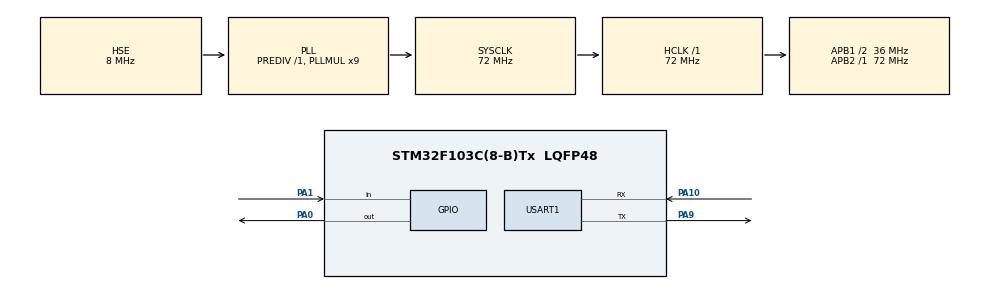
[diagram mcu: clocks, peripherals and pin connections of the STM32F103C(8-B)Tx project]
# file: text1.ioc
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Mcu.Family=STM32F1
Mcu.Name=STM32F103C(8-B)Tx
Mcu.Package=LQFP48
NVIC.PriorityGroup=NVIC_PRIORITYGROUP_4
PA0-WKUP.GPIO_Speed=GPIO_SPEED_FREQ_HIGH
PA0-WKUP.Signal=GPIO_Output
PA1.Signal=GPIO_Input
PA10.Mode=Asynchronous
PA10.Signal=USART1_RX
PA13.Mode=Serial_Wire
PA13.Signal=SYS_JTMS-SWDIO
PA14.Mode=Serial_Wire
PA14.Signal=SYS_JTCK-SWCLK
PA9.Mode=Asynchronous
PA9.Signal=USART1_TX
PC14-OSC32_IN.Mode=LSE-External-Oscillator
PC14-OSC32_IN.Signal=RCC_OSC32_IN
PC15-OSC32_OUT.Mode=LSE-External-Oscillator
PC15-OSC32_OUT.Signal=RCC_OSC32_OUT
PD0-OSC_IN.Mode=HSE-External-Oscillator
PD0-OSC_IN.Signal=RCC_OSC_IN
PD1-OSC_OUT.Mode=HSE-External-Oscillator
PD1-OSC_OUT.Signal=RCC_OSC_OUT
ProjectManager.HeapSize=0x200
ProjectManager.StackSize=0x400
ProjectManager.TargetToolchain=MDK-ARM V5.32
RCC.AHBFreq_Value=72000000
RCC.APB1CLKDivider=RCC_HCLK_DIV2
RCC.APB1Freq_Value=36000000
RCC.APB1TimFreq_Value=72000000
RCC.APB2Freq_Value=72000000
RCC.APB2TimFreq_Value=72000000
RCC.HCLKFreq_Value=72000000
RCC.PLLMUL=RCC_PLL_MUL9
RCC.PLLSourceVirtual=RCC_PLLSOURCE_HSE
RCC.SYSCLKFreq_VALUE=72000000
RCC.SYSCLKSource=RCC_SYSCLKSOURCE_PLLCLK
RCC.USBFreq_Value=72000000
USART1.VirtualMode=VM_ASYNC
board=custom

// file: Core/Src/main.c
/* USER CODE BEGIN Header */
/**
  ******************************************************************************
  * @file           : main.c
  * @brief          : Main program body
  ******************************************************************************
  * @attention
  *
  * <h2><center>&copy; Copyright (c) 2026 STMicroelectronics.
  * All rights reserved.</center></h2>
  *
  * This software component is licensed by ST under BSD 3-Clause license,
  * the "License"; You may not use this file except in compliance with the
  * License. You may obtain a copy of the License at:
  *                        opensource.org/licenses/BSD-3-Clause
  *
  ******************************************************************************
  */
/* USER CODE END Header */
#include "main.h"
#include "usart.h"
#include "gpio.h"

/* USER CODE BEGIN Includes */
#include "stdio.h" //用printf输出到串口
/* USER CODE END Includes */

/* USER CODE BEGIN PV */
uint32_t echo_time = 0; // 用来记录Echo引脚高电平持续时间
float distance_cm = 0;   // 最终计算出的距离
int fputc(int ch, FILE *f) //把printf重定向到串口1
{
    HAL_UART_Transmit(&huart1, (uint8_t *)&ch, 1, HAL_MAX_DELAY);
    return ch;
}
/* USER CODE END PV */

void SystemClock_Config(void);

/* USER CODE BEGIN 0 */
void delay_us(uint32_t us) //用来给超声波模块发触发信号和计时用
{
    uint32_t ticks = us * (HAL_RCC_GetHCLKFreq() / 1000000);
    uint32_t start = SysTick->VAL;
    while((start - SysTick->VAL) < ticks);
}

float HCSR04_Get_Distance(void) //超声波测距
{
    //给Trig引脚发10us高电平触发信,号触发模块开始工作
    HAL_GPIO_WritePin(GPIOA, GPIO_PIN_0, GPIO_PIN_SET);
    delay_us(10);
    HAL_GPIO_WritePin(GPIOA, GPIO_PIN_0, GPIO_PIN_RESET);

    // 等待Echo引脚变高
    while(HAL_GPIO_ReadPin(GPIOA, GPIO_PIN_1) == GPIO_PIN_RESET);

    // 计时Echo引脚高电平的持续时间
    echo_time = 0;
    while(HAL_GPIO_ReadPin(GPIOA, GPIO_PIN_1) == GPIO_PIN_SET)
    {
        echo_time++;
        delay_us(1);
    }
    // 计算距离
    return (float)echo_time / 58.0f;
}
/* USER CODE END 0 */

int main(void)
{

  /* MCU Configuration--------------------------------------------------------*/

  /* Reset of all peripherals, Initializes the Flash interface and the Systick. */
  HAL_Init();

  /* Configure the system clock */
  SystemClock_Config();

  /* Initialize all configured peripherals */
  MX_GPIO_Init();
  MX_USART1_UART_Init();

  /* Infinite loop */
  /* USER CODE BEGIN WHILE */
  while (1)
  {
    // 调用测距函数
    distance_cm = HCSR04_Get_Distance();

    // 串口输出结果
    if(distance_cm > 2 && distance_cm < 400) // 有效范围：2cm ~ 400cm
    {
			printf("distance:%.2f cm\r\n", distance_cm);
    }
    else
    {
        printf("beyond the distance\r\n");
    }

    HAL_Delay(500); // 避免频繁触发模块
    /* USER CODE END WHILE */

  }
}

void SystemClock_Config(void)
{
  RCC_OscInitTypeDef RCC_OscInitStruct = {0};
  RCC_ClkInitTypeDef RCC_ClkInitStruct = {0};

  /** Initializes the RCC Oscillators according to the specified parameters
  * in the RCC_OscInitTypeDef structure.
  */
  RCC_OscInitStruct.OscillatorType = RCC_OSCILLATORTYPE_HSE;
  RCC_OscInitStruct.HSEState = RCC_HSE_ON;
  RCC_OscInitStruct.HSEPredivValue = RCC_HSE_PREDIV_DIV1;
  RCC_OscInitStruct.HSIState = RCC_HSI_ON;
  RCC_OscInitStruct.PLL.PLLState = RCC_PLL_ON;
  RCC_OscInitStruct.PLL.PLLSource = RCC_PLLSOURCE_HSE;
  RCC_OscInitStruct.PLL.PLLMUL = RCC_PLL_MUL9;
  if (HAL_RCC_OscConfig(&RCC_OscInitStruct) != HAL_OK)
  {
    Error_Handler();
  }
  /** Initializes the CPU, AHB and APB buses clocks
  */
  RCC_ClkInitStruct.ClockType = RCC_CLOCKTYPE_HCLK|RCC_CLOCKTYPE_SYSCLK
                              |RCC_CLOCKTYPE_PCLK1|RCC_CLOCKTYPE_PCLK2;
  RCC_ClkInitStruct.SYSCLKSource = RCC_SYSCLKSOURCE_PLLCLK;
  RCC_ClkInitStruct.AHBCLKDivider = RCC_SYSCLK_DIV1;
  RCC_ClkInitStruct.APB1CLKDivider = RCC_HCLK_DIV2;
  RCC_ClkInitStruct.APB2CLKDivider = RCC_HCLK_DIV1;

  if (HAL_RCC_ClockConfig(&RCC_ClkInitStruct, FLASH_LATENCY_2) != HAL_OK)
  {
    Error_Handler();
  }
}

void Error_Handler(void)
{
  __disable_irq();
  while (1)
  {
  }
}

/************************ (C) COPYRIGHT STMicroelectronics *****END OF FILE****/
